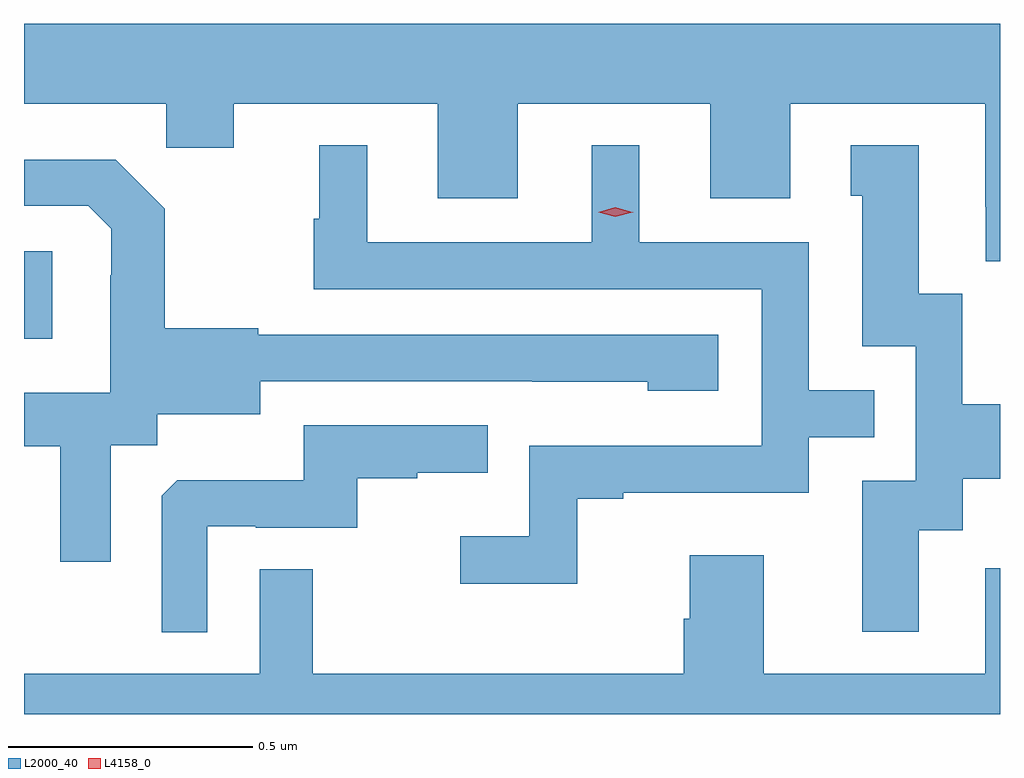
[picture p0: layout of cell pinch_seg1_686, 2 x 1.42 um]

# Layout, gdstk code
import gdstk
lib = gdstk.Library(unit=1e-6, precision=1e-09)
def R(c, l, rs):  # rectangles x0, y0, x1, y1
    for r in rs: c.add(gdstk.rectangle(r[:2], r[2:], *l))
def P(c, l, *ps):  # polygons
    for p in ps: c.add(gdstk.Polygon(p, *l))
L2000_40 = (2000, 40)
L4158_0 = (4158, 0)

pinch_seg1_686 = lib.new_cell('pinch_seg1_686')
R(pinch_seg1_686, L2000_40, [(757.101,575.226,757.159,575.406)])
P(pinch_seg1_686, L2000_40, [(759.101,575.872),(757.101,575.872),(757.101,575.708),(757.393,575.708),(757.393,575.618),(757.531,575.618),(757.531,575.708),(757.949,575.708),(757.949,575.514),(758.113,575.514),(758.113,575.708),(758.507,575.708),(758.507,575.514),(758.671,575.514),(758.671,575.708),(759.071,575.708),(759.071,575.497),(759.072,575.497),(759.072,575.385),(759.101,575.385)],
  [(758.935,574.834),(759.025,574.834),(759.025,574.94),(759.101,574.94),(759.101,575.092),(759.024,575.092),(759.024,575.319),(758.935,575.319),(758.935,575.623),(758.795,575.623),(758.795,575.52),(758.819,575.52),(758.819,575.211),(758.928,575.211),(758.928,574.935),(758.819,574.935),(758.819,574.626),(758.935,574.626)],
  [(758.235,574.899),(758.329,574.899),(758.329,574.911),(758.709,574.911),(758.709,575.025),(758.843,575.025),(758.843,575.121),(758.709,575.121),(758.709,575.424),(758.362,575.424),(758.362,575.623),(758.264,575.623),(758.264,575.424),(757.804,575.424),(757.804,575.623),(757.706,575.623),(757.706,575.472),(757.695,575.472),(757.695,575.328),(758.613,575.328),(758.613,575.007),(758.136,575.007),(758.136,574.822),(757.995,574.822),(757.995,574.724),(758.235,574.724)],
  [(757.279,575.008),(757.374,575.008),(757.374,575.072),(757.585,575.072),(757.585,575.139),(758.143,575.139),(758.143,575.138),(758.379,575.138),(758.379,575.12),(758.524,575.12),(758.524,575.235),(757.581,575.235),(757.581,575.248),(757.389,575.248),(757.389,575.493),(757.289,575.593),(757.101,575.593),(757.101,575.499),(757.233,575.499),(757.28,575.452),(757.28,575.357),(757.278,575.357),(757.278,575.116),(757.101,575.116),(757.101,575.006),(757.175,575.006),(757.175,574.77),(757.279,574.77)],
  [(757.476,574.842),(757.576,574.842),(757.576,574.839),(757.784,574.839),(757.784,574.941),(757.907,574.941),(757.907,574.952),(758.051,574.952),(758.051,575.049),(757.674,575.049),(757.674,574.937),(757.415,574.937),(757.383,574.905),(757.383,574.625),(757.476,574.625)],
  [(759.101,574.756),(759.071,574.756),(759.071,574.54),(758.617,574.54),(758.617,574.783),(758.465,574.783),(758.465,574.653),(758.453,574.653),(758.453,574.54),(757.693,574.54),(757.693,574.754),(757.584,574.754),(757.584,574.54),(757.101,574.54),(757.101,574.457),(759.101,574.457)])
P(pinch_seg1_686, L4158_0, [(758.313,575.476),(758.278,575.486),(758.277,575.486),(758.278,575.486),(758.313,575.496),(758.348,575.486),(758.349,575.486),(758.348,575.486)])

lib.write_gds('pinch_seg1_686.gds')
